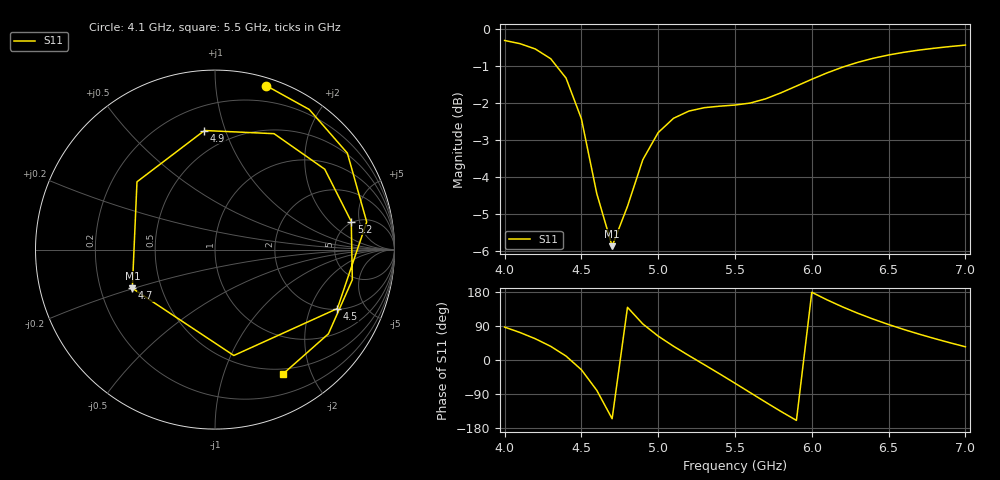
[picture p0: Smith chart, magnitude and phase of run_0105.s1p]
! Touchstone file exported from HFSS 2024.2.0
!  File:  C:/Users/wsak9/Desktop/Sim Fast/Widenad Patch/WP_AI_V1_sweep.aedt
!  Generated:  07:18:10 PM Oct 13, 2026
!  Design:  A1_model
!  Project:  WP_AI_V1_sweep
!  Setup:  Setup1
!  Solution:  Sweep
! Variables:
!  Air_gap = 2.37mm
!  Curve_Amp1 = 0.75
!  Curve_len1 = 1
!  Curve_pos = 11.885mm
!  Extra = 1.29mm
!  H_sub = 0.79mm
!  L_Patch = 19.77mm
!  L_Patch1 = 11.06mm
!  Sx = 1.25mm
!  Sy = 0.71mm
!  WS = 0.41mm
!  W_Patch = 16.09mm
!  W_Patch1 = 9.77mm
!Data is not renormalized
# GHz S MA
! Terminal data exported
! Port[1] = 1
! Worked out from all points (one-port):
!   31 points, 4 GHz to 7 GHz, reference per port
!   lowest |S11| = -5.9 dB at 4.7 GHz (marker M1), VSWR 3.07
!   |S11| at or under -10 dB: nowhere
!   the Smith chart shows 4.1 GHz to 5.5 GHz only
!   S11 on the Smith chart (normalised r, x): 4.1 GHz: 0.06, +1.36; 4.5 GHz: 2.04, -3.14; 4.7 GHz: 0.34, -0.20; 4.9 GHz: 0.36, +0.85; 5.2 GHz: 4.84, +3.79; 5.5 GHz: 0.43, -1.60
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4  0.9662 86.9
4.1  0.9566 72.6
4.2  0.9408 56.1
4.3  0.9127 36.1
4.4  0.8591 10.3
4.5  0.7567 -25.7
4.6  0.5992 -79.9
4.7  0.5085 -154.9
4.8  0.5759 139.0
4.9  0.6661 95.1
5  0.7249 63.0
5.1  0.7579 36.2
5.2  0.7752 11.6
5.3  0.7834 -12.4
5.4  0.7871 -36.6
5.5  0.7898 -61.3
5.6  0.7949 -86.4
5.7  0.8054 -111.4
5.8  0.8207 -136.0
5.9  0.8381 -159.4
6  0.856 178.7
6.1  0.8733 158.6
6.2  0.889 140.1
6.3  0.9025 123.3
6.4  0.9139 107.9
6.5  0.9234 93.6
6.7  0.9377 68.1
7  0.9524 34.9
